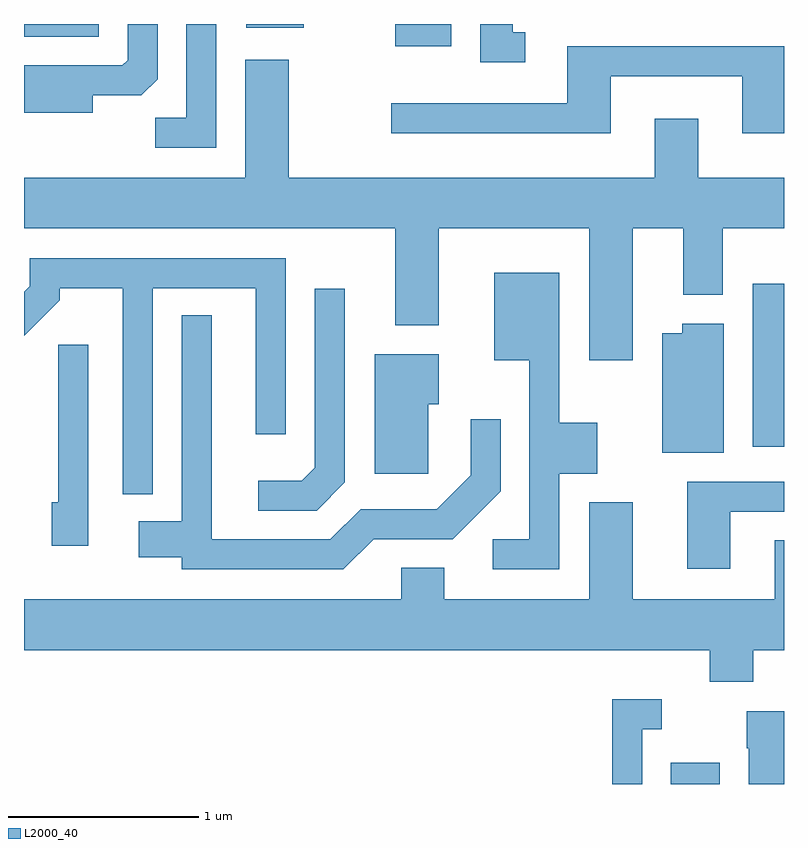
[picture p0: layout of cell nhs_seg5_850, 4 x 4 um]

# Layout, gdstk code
import gdstk
lib = gdstk.Library(unit=1e-6, precision=1e-09)
def R(c, l, rs):  # rectangles x0, y0, x1, y1
    for r in rs: c.add(gdstk.rectangle(r[:2], r[2:], *l))
def P(c, l, *ps):  # polygons
    for p in ps: c.add(gdstk.Polygon(p, *l))
L2000_40 = (2000, 40)

nhs_seg5_850 = lib.new_cell('nhs_seg5_850')
R(nhs_seg5_850, L2000_40, [(213.016,1476.072,213.274,1476.184), (213.446,1477.846,213.611,1478.704), (211.566,1479.956,211.859,1480.072), (209.611,1480.006,210.004,1480.072), (210.781,1480.051,211.084,1480.072)])
P(nhs_seg5_850, L2000_40, [(210.624,1480.072),(210.466,1480.072),(210.466,1479.579),(210.303,1479.579),(210.303,1479.421),(210.624,1479.421)],
  [(209.974,1479.696),(210.229,1479.696),(210.314,1479.782),(210.314,1480.072),(210.156,1480.072),(210.156,1479.882),(210.129,1479.854),(209.611,1479.854),(209.611,1479.606),(209.974,1479.606)],
  [(212.248,1480.029),(212.184,1480.029),(212.184,1480.072),(212.011,1480.072),(212.011,1479.871),(212.248,1479.871)],
  [(212.699,1479.796),(213.391,1479.796),(213.391,1479.496),(213.611,1479.496),(213.611,1479.954),(212.471,1479.954),(212.471,1479.654),(211.543,1479.654),(211.543,1479.496),(212.699,1479.496)],
  [(212.814,1478.996),(213.081,1478.996),(213.081,1478.646),(213.289,1478.646),(213.289,1478.996),(213.611,1478.996),(213.611,1479.264),(213.159,1479.264),(213.159,1479.574),(212.931,1479.574),(212.931,1479.264),(211.004,1479.264),(211.004,1479.884),(210.776,1479.884),(210.776,1479.264),(209.611,1479.264),(209.611,1478.996),(211.566,1478.996),(211.566,1478.486),(211.794,1478.486),(211.794,1478.996),(212.586,1478.996),(212.586,1478.301),(212.814,1478.301)],
  [(210.289,1478.681),(210.831,1478.681),(210.831,1477.913),(210.989,1477.913),(210.989,1478.839),(209.641,1478.839),(209.641,1478.692),(209.611,1478.662),(209.611,1478.43),(209.799,1478.619),(209.799,1478.681),(210.131,1478.681),(210.131,1477.598),(210.289,1477.598)],
  [(212.429,1477.706),(212.629,1477.706),(212.629,1477.974),(212.429,1477.974),(212.429,1478.764),(212.086,1478.764),(212.086,1478.301),(212.271,1478.301),(212.271,1477.359),(212.078,1477.359),(212.078,1477.201),(212.429,1477.201)],
  [(211.299,1477.659),(211.299,1478.678),(211.141,1478.678),(211.141,1477.737),(211.074,1477.669),(210.843,1477.669),(210.843,1477.511),(211.152,1477.511)],
  [(211.452,1477.361),(211.867,1477.361),(212.119,1477.614),(212.119,1477.993),(211.961,1477.993),(211.961,1477.697),(211.784,1477.519),(211.384,1477.519),(211.224,1477.359),(210.599,1477.359),(210.599,1478.538),(210.441,1478.538),(210.441,1477.454),(210.216,1477.454),(210.216,1477.266),(210.441,1477.266),(210.441,1477.201),(211.292,1477.201)],
  [(213.294,1478.494),(213.076,1478.494),(213.076,1478.444),(212.971,1478.444),(212.971,1477.816),(213.294,1477.816)],
  [(209.949,1478.383),(209.791,1478.383),(209.791,1477.554),(209.756,1477.554),(209.756,1477.326),(209.949,1477.326)],
  [(211.739,1478.071),(211.794,1478.071),(211.794,1478.334),(211.456,1478.334),(211.456,1477.706),(211.739,1477.706)],
  [(213.329,1477.506),(213.611,1477.506),(213.611,1477.664),(213.101,1477.664),(213.101,1477.206),(213.329,1477.206)],
  [(213.449,1476.776),(213.611,1476.776),(213.611,1477.354),(213.561,1477.354),(213.561,1477.044),(212.814,1477.044),(212.814,1477.554),(212.586,1477.554),(212.586,1477.044),(211.824,1477.044),(211.824,1477.209),(211.596,1477.209),(211.596,1477.044),(209.611,1477.044),(209.611,1476.776),(213.221,1476.776),(213.221,1476.611),(213.449,1476.611)],
  [(212.864,1476.361),(212.968,1476.361),(212.968,1476.519),(212.706,1476.519),(212.706,1476.072),(212.864,1476.072)],
  [(213.611,1476.454),(213.416,1476.454),(213.416,1476.26),(213.426,1476.26),(213.426,1476.072),(213.611,1476.072)])

lib.write_gds('nhs_seg5_850.gds')
